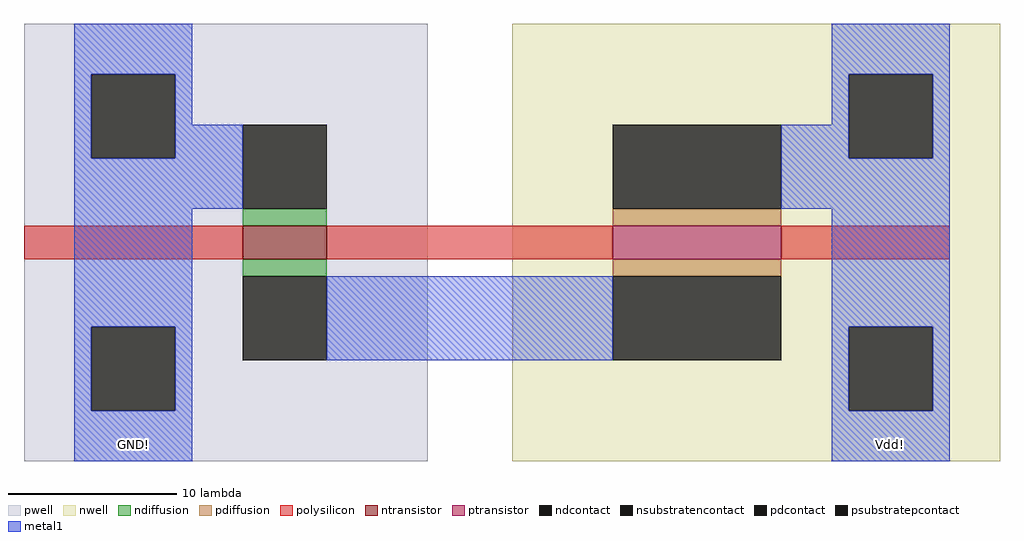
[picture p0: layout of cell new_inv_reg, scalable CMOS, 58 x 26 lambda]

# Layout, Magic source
magic
tech scmos
<< nwell >>
rect 106 4 135 30
<< pwell >>
rect 77 4 101 30
<< ntransistor >>
rect 90 16 95 18
<< ptransistor >>
rect 112 16 122 18
<< ndiffusion >>
rect 90 18 95 19
rect 90 15 95 16
<< pdiffusion >>
rect 112 18 122 19
rect 112 15 122 16
<< ndcontact >>
rect 90 19 95 24
rect 90 10 95 15
<< pdcontact >>
rect 112 19 122 24
rect 112 10 122 15
<< psubstratepcontact >>
rect 81 22 86 27
rect 81 7 86 12
<< nsubstratencontact >>
rect 126 22 131 27
rect 126 7 131 12
<< polysilicon >>
rect 77 16 90 18
rect 95 16 112 18
rect 122 16 132 18
<< metal1 >>
rect 80 27 87 30
rect 80 22 81 27
rect 86 24 87 27
rect 125 27 132 30
rect 125 24 126 27
rect 86 22 90 24
rect 80 19 90 22
rect 122 22 126 24
rect 131 22 132 27
rect 122 19 132 22
rect 80 12 87 19
rect 80 7 81 12
rect 86 7 87 12
rect 95 10 112 15
rect 125 12 132 19
rect 80 4 87 7
rect 125 7 126 12
rect 131 7 132 12
rect 125 4 132 7
<< labels >>
rlabel metal1 126 5 131 5 1 Vdd!
rlabel metal1 81 5 86 5 1 GND!
<< end >>
